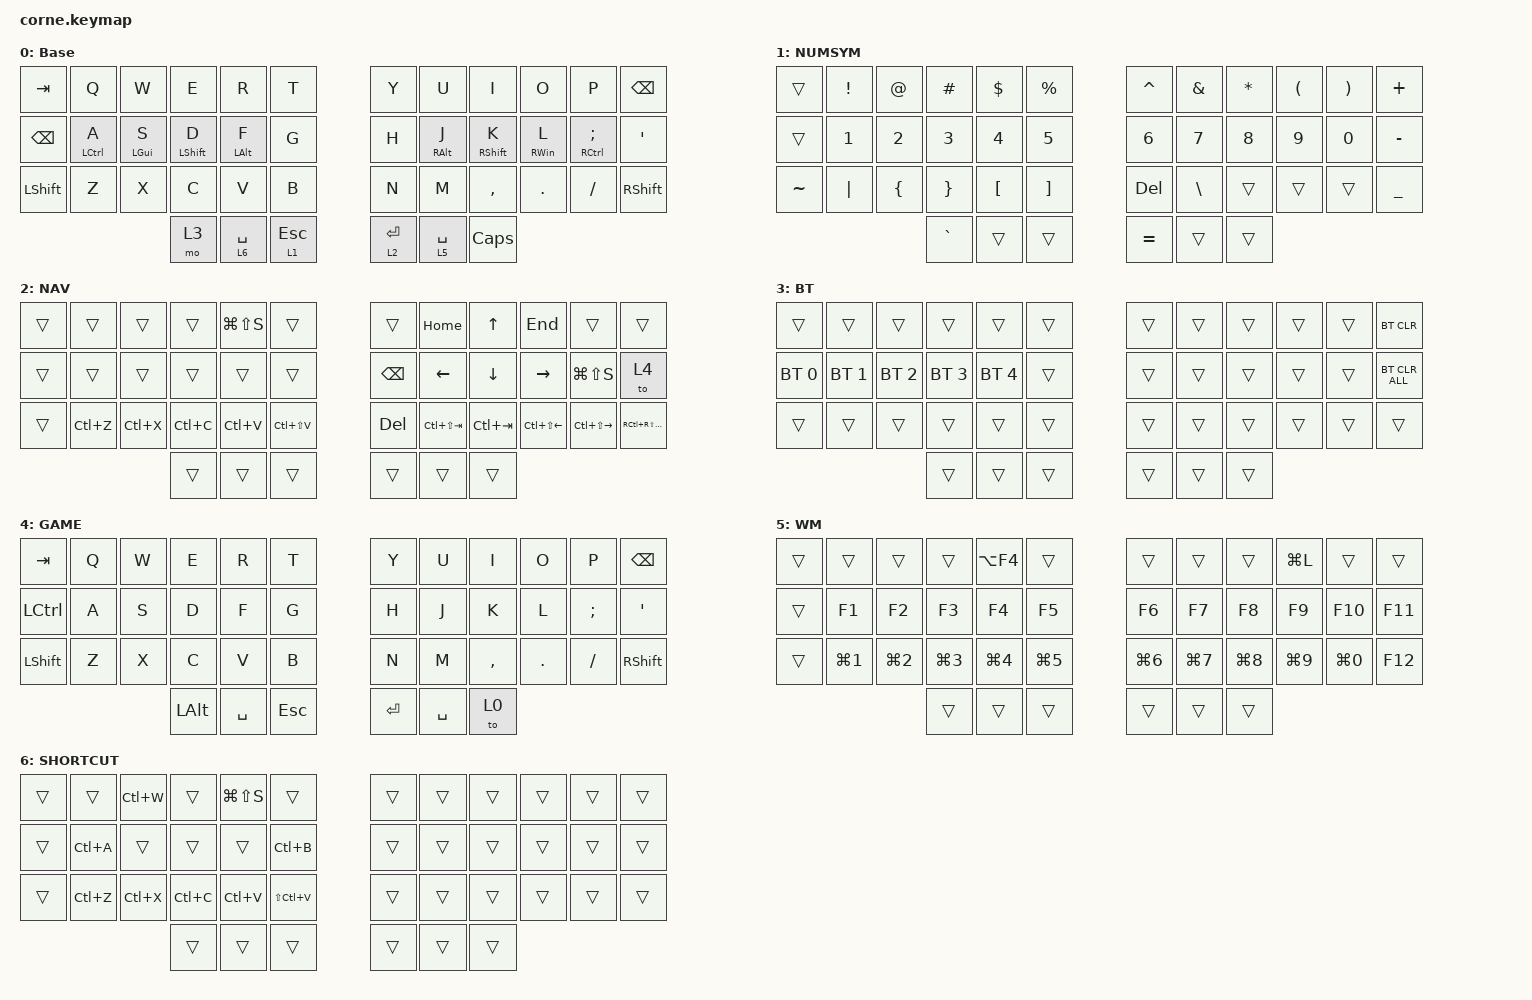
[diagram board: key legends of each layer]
/*
 * Copyright (c) 2020 The ZMK Contributors
 *
 * SPDX-License-Identifier: MIT
 */

#include <behaviors.dtsi>
#include <dt-bindings/zmk/bt.h>
#include <dt-bindings/zmk/keys.h>

/ {
    behaviors {
        HMR: HMR {
            compatible = "zmk,behavior-hold-tap";
            label = "HMR";
            bindings = <&kp>, <&kp>;

            #binding-cells = <2>;
            tapping-term-ms = <280>;
            quick-tap-ms = <175>;
            flavor = "tap-preferred";
            hold-trigger-key-positions = <0 1 2 3 4 5 12 13 14 15 16 17 24 25 26 27 28 29 36 37 38 39 40 41>;
            hold-trigger-on-release;
        };

        HML: HML {
            compatible = "zmk,behavior-hold-tap";
            label = "HML";
            bindings = <&kp>, <&kp>;

            #binding-cells = <2>;
            tapping-term-ms = <280>;
            quick-tap-ms = <175>;
            flavor = "tap-preferred";
            hold-trigger-on-release;
            hold-trigger-key-positions = <36 37 38 6 7 8 9 10 11 18 19 20 21 22 23 30 31 32 33 34 35 39 40 41>;
        };
    };

    keymap {
        compatible = "zmk,keymap";

        Base {
            // -----------------------------------------------------------------------------------------
            // |  TAB |  Q  |  W  |  E  |  R  |  T  |   |  Y  |  U   |  I  |  O  |  P  | BKSP |
            // | CTRL |  A  |  S  |  D  |  F  |  G  |   |  H  |  J   |  K  |  L  |  ;  |  '   |
            // | SHFT |  Z  |  X  |  C  |  V  |  B  |   |  N  |  M   |  ,  |  .  |  /  | ESC  |
            //                    | GUI | LWR | SPC |   | ENT | RSE  | ALT |

            display-name = "Base";
            bindings = <
&kp TAB         &kp Q                &kp W            &kp E              &kp R            &kp T           &kp Y        &kp U             &kp I               &kp O             &kp P                         &kp BSPC
&kp BACKSPACE   &HML LEFT_CONTROL A  &HML LEFT_GUI S  &HML LEFT_SHIFT D  &HML LEFT_ALT F  &kp G           &kp H        &HMR RIGHT_ALT J  &HMR RIGHT_SHIFT K  &HMR RIGHT_WIN L  &HMR RIGHT_CONTROL SEMICOLON  &kp SQT
&kp LEFT_SHIFT  &kp Z                &kp X            &kp C              &kp V            &kp B           &kp N        &kp M             &kp COMMA           &kp DOT           &kp FSLH                      &kp RIGHT_SHIFT
                                                      &mo 3              &lt 6 SPACE      &lt 1 ESCAPE    &lt 2 ENTER  &lt 5 SPACE       &kp CAPSLOCK
            >;
        };

        NUMSYM {
            display-name = "NUMSYM";
            bindings = <
&trans     &kp EXCL  &kp AT          &kp HASH         &kp DOLLAR  &kp PERCENT    &kp CARET   &kp AMPERSAND  &kp ASTERISK  &kp LEFT_PARENTHESIS  &kp RIGHT_PARENTHESIS  &kp PLUS
&trans     &kp N1    &kp N2          &kp N3           &kp N4      &kp N5         &kp N6      &kp N7         &kp N8        &kp N9                &kp N0                 &kp MINUS
&kp TILDE  &kp PIPE  &kp LEFT_BRACE  &kp RIGHT_BRACE  &kp LBKT    &kp RBKT       &kp DELETE  &kp BACKSLASH  &trans        &trans                &trans                 &kp UNDERSCORE
                                     &kp GRAVE        &trans      &trans         &kp EQUAL   &trans         &trans
            >;
        };

        Nav {
            display-name = "NAV";
            bindings = <
&trans  &trans     &trans     &trans     &kp LG(LS(S))  &trans           &trans    &kp HOME         &kp UP       &kp END           &trans             &trans
&trans  &trans     &trans     &trans     &trans         &trans           &kp BSPC  &kp LEFT_ARROW   &kp DOWN     &kp RIGHT         &kp LG(LS(S))      &to 4
&trans  &kp LC(Z)  &kp LC(X)  &kp LC(C)  &kp LC(V)      &kp LC(LS(V))    &kp DEL   &kp LC(LS(TAB))  &kp LC(TAB)  &kp LC(LS(LEFT))  &kp LC(LS(RIGHT))  &kp RC(RS(ESCAPE))
                              &trans     &trans         &trans           &trans    &trans           &trans
            >;
        };

        bluetooth {
            display-name = "BT";
            bindings = <
&trans        &trans        &trans        &trans        &trans        &trans    &trans  &trans  &trans  &trans  &trans  &bt BT_CLR
&bt BT_SEL 0  &bt BT_SEL 1  &bt BT_SEL 2  &bt BT_SEL 3  &bt BT_SEL 4  &trans    &trans  &trans  &trans  &trans  &trans  &bt BT_CLR_ALL
&trans        &trans        &trans        &trans        &trans        &trans    &trans  &trans  &trans  &trans  &trans  &trans
                                          &trans        &trans        &trans    &trans  &trans  &trans
            >;
        };

        gaming {
            display-name = "GAME";
            bindings = <
&kp TAB    &kp Q  &kp W  &kp E         &kp R      &kp T      &kp Y      &kp U      &kp I      &kp O    &kp P     &kp BSPC
&kp LCTRL  &kp A  &kp S  &kp D         &kp F      &kp G      &kp H      &kp J      &kp K      &kp L    &kp SEMI  &kp APOS
&kp LSHFT  &kp Z  &kp X  &kp C         &kp V      &kp B      &kp N      &kp M      &kp COMMA  &kp DOT  &kp FSLH  &kp RSHFT
                         &kp LEFT_ALT  &kp SPACE  &kp ESC    &kp ENTER  &kp SPACE  &to 0
            >;
        };

        WM5 {
            display-name = "WM";
            bindings = <
&trans  &trans      &trans      &trans      &kp LA(F4)  &trans        &trans      &trans      &trans      &kp LG(L)   &trans      &trans
&trans  &kp F1      &kp F2      &kp F3      &kp F4      &kp F5        &kp F6      &kp F7      &kp F8      &kp F9      &kp F10     &kp F11
&trans  &kp LG(N1)  &kp LG(N2)  &kp LG(N3)  &kp LG(N4)  &kp LG(N5)    &kp LG(N6)  &kp LG(N7)  &kp LG(N8)  &kp LG(N9)  &kp LG(N0)  &kp F12
                                &trans      &trans      &trans        &trans      &trans      &trans
            >;
        };

        Shortcut {
            display-name = "SHORTCUT";
            bindings = <
&trans  &trans     &kp LC(W)  &trans     &kp LG(LS(S))  &trans           &trans  &trans  &trans  &trans  &trans  &trans
&trans  &kp LC(A)  &trans     &trans     &trans         &kp LC(B)        &trans  &trans  &trans  &trans  &trans  &trans
&trans  &kp LC(Z)  &kp LC(X)  &kp LC(C)  &kp LC(V)      &kp LS(LC(V))    &trans  &trans  &trans  &trans  &trans  &trans
                              &trans     &trans         &trans           &trans  &trans  &trans
            >;
        };
    };
};
